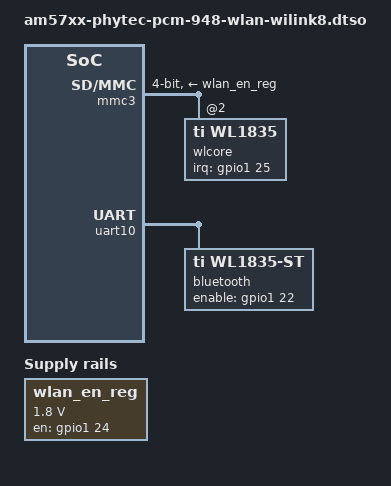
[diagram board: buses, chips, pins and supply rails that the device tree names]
// SPDX-License-Identifier: GPL-2.0
/*
 * Copyright (C) 2023 PHYTEC Messtechnik GmbH
 * Author: Primoz Fiser <primoz.fiser@norik.com>
 */

/dts-v1/;
/plugin/;

#include <dt-bindings/interrupt-controller/irq.h>
#include <dt-bindings/gpio/gpio.h>
#include <dt-bindings/pinctrl/dra.h>

&{/} {
	wlan_en_reg: regulator-wlan-en {
		compatible = "regulator-fixed";
		pinctrl-names = "default";
		pinctrl-0 = <&wlan_pins_default>;
		regulator-min-microvolt = <1800000>;
		regulator-max-microvolt = <1800000>;
		regulator-name = "WLAN_EN";
		gpio = <&gpio1 24 GPIO_ACTIVE_HIGH>;
		enable-active-high;
	};
};

&dra7_iodelay_core {
	mmc3_iodelay_conf: mmc3_iodelay_conf {
		pinctrl-pin-array = <
			0x678 A_DELAY_PS(406) G_DELAY_PS(0)	/* CFG_MMC3_CLK_IN */
			0x680 A_DELAY_PS(659) G_DELAY_PS(0)	/* CFG_MMC3_CLK_OUT */
			0x684 A_DELAY_PS(0) G_DELAY_PS(0)	/* CFG_MMC3_CMD_IN */
			0x688 A_DELAY_PS(0) G_DELAY_PS(0)	/* CFG_MMC3_CMD_OEN */
			0x68c A_DELAY_PS(0) G_DELAY_PS(0)	/* CFG_MMC3_CMD_OUT */
			0x690 A_DELAY_PS(130) G_DELAY_PS(0)	/* CFG_MMC3_DAT0_IN */
			0x694 A_DELAY_PS(0) G_DELAY_PS(0)	/* CFG_MMC3_DAT0_OEN */
			0x698 A_DELAY_PS(0) G_DELAY_PS(0)	/* CFG_MMC3_DAT0_OUT */
			0x69c A_DELAY_PS(169) G_DELAY_PS(0)	/* CFG_MMC3_DAT1_IN */
			0x6a0 A_DELAY_PS(0) G_DELAY_PS(0)	/* CFG_MMC3_DAT1_OEN */
			0x6a4 A_DELAY_PS(0) G_DELAY_PS(0)	/* CFG_MMC3_DAT1_OUT */
			0x6a8 A_DELAY_PS(0) G_DELAY_PS(0)	/* CFG_MMC3_DAT2_IN */
			0x6ac A_DELAY_PS(0) G_DELAY_PS(0)	/* CFG_MMC3_DAT2_OEN */
			0x6b0 A_DELAY_PS(0) G_DELAY_PS(0)	/* CFG_MMC3_DAT2_OUT */
			0x6b4 A_DELAY_PS(457) G_DELAY_PS(0)	/* CFG_MMC3_DAT3_IN */
			0x6b8 A_DELAY_PS(0) G_DELAY_PS(0)	/* CFG_MMC3_DAT3_OEN */
			0x6bc A_DELAY_PS(0) G_DELAY_PS(0)	/* CFG_MMC3_DAT3_OUT */
		>;
	};
};

&dra7_pmx_core {
	wlan_pins_default: wlan_pins_default {
		pinctrl-single,pins = <
			DRA7XX_CORE_IOPAD(0x379c, PIN_OUTPUT_PULLDOWN | MUX_MODE14)	/* (AB8) mmc3_dat6.gpio1_24 */
			DRA7XX_CORE_IOPAD(0x37a0, PIN_INPUT_PULLDOWN | MUX_MODE14)	/* (AB5) mmc3_dat7.gpio1_25 */
		>;
	};

	bt_pin_default: bt_pin_default {
		pinctrl-single,pins = <
			DRA7XX_CORE_IOPAD(0x3794, PIN_OUTPUT_PULLDOWN | MUX_MODE14)	/* (AC8) mmc3_dat4.gpio1_22 */
		>;
	};

	mmc3_pins_default: mmc3_pins_default {
		pinctrl-single,pins = <
			DRA7XX_CORE_IOPAD(0x377c, PIN_INPUT_PULLUP | MODE_SELECT | MUX_MODE0)	/* (AD4) mmc3_clk */
			DRA7XX_CORE_IOPAD(0x3780, PIN_INPUT_PULLUP | MODE_SELECT | MUX_MODE0)	/* (AC4) mmc3_cmd */
			DRA7XX_CORE_IOPAD(0x3784, PIN_INPUT_PULLUP | MODE_SELECT | MUX_MODE0)	/* (AC7) mmc3_dat0 */
			DRA7XX_CORE_IOPAD(0x3788, PIN_INPUT_PULLUP | MODE_SELECT | MUX_MODE0)	/* (AC6) mmc3_dat1 */
			DRA7XX_CORE_IOPAD(0x378c, PIN_INPUT_PULLUP | MODE_SELECT | MUX_MODE0)	/* (AC9) mmc3_dat2 */
			DRA7XX_CORE_IOPAD(0x3790, PIN_INPUT_PULLUP | MODE_SELECT | MUX_MODE0)	/* (AC3) mmc3_dat3 */
		>;
	};

	mmc3_pins_sleep: mmc3_pins_sleep {
		pinctrl-single,pins = <
			DRA7XX_CORE_IOPAD(0x377c, PIN_INPUT_PULLDOWN | MUX_MODE15)
			DRA7XX_CORE_IOPAD(0x3780, PIN_INPUT_PULLDOWN | MUX_MODE15)
			DRA7XX_CORE_IOPAD(0x3784, PIN_INPUT_PULLDOWN | MUX_MODE15)
			DRA7XX_CORE_IOPAD(0x3788, PIN_INPUT_PULLDOWN | MUX_MODE15)
			DRA7XX_CORE_IOPAD(0x378c, PIN_INPUT_PULLDOWN | MUX_MODE15)
			DRA7XX_CORE_IOPAD(0x3790, PIN_INPUT_PULLDOWN | MUX_MODE15)
		>;
	};

	uart10_pins_default: uart10_pins_default {
		pinctrl-single,pins = <
			DRA7XX_CORE_IOPAD(0x3570, PIN_INPUT_SLEW | MUX_MODE8)	/* (D1) vin2a_d2.uart10_rxd */
			DRA7XX_CORE_IOPAD(0x3574, PIN_INPUT_SLEW | MUX_MODE8)	/* (E2) vin2a_d3.uart10_txd */
			DRA7XX_CORE_IOPAD(0x3578, PIN_INPUT_SLEW | MUX_MODE8)	/* (D2) vin2a_d4.uart10_ctsn */
			DRA7XX_CORE_IOPAD(0x357c, PIN_INPUT_SLEW | MUX_MODE8)	/* (F4) vin2a_d5.uart10_rtsn */
		>;
	};
};

&mmc3 {
	status = "okay";
	pinctrl-names = "default", "sleep", "hs", "sdr12", "sdr25", "sdr50";
	pinctrl-0 = <&mmc3_pins_default &mmc3_iodelay_conf>;
	pinctrl-1 = <&mmc3_pins_sleep>;
	pinctrl-2 = <&mmc3_pins_default &mmc3_iodelay_conf>;
	pinctrl-3 = <&mmc3_pins_default &mmc3_iodelay_conf>;
	pinctrl-4 = <&mmc3_pins_default &mmc3_iodelay_conf>;
	pinctrl-5 = <&mmc3_pins_default &mmc3_iodelay_conf>;
	bus-width = <4>;
	vmmc-supply = <&wlan_en_reg>;
	ti,non-removable;
	cap-power-off-card;
	keep-power-in-suspend;

	#address-cells = <1>;
	#size-cells = <0>;

	wlcore: wlcore@2 {
		compatible = "ti,wl1835";
		reg = <2>;
		interrupt-parent = <&gpio1>;
		interrupts = <25 IRQ_TYPE_EDGE_RISING>;
	};
};

&uart10 {
	status = "okay";
	pinctrl-names = "default";
	pinctrl-0 = <&uart10_pins_default &bt_pin_default>;

	bluetooth {
		compatible = "ti,wl1835-st";
		enable-gpios = <&gpio1 22 GPIO_ACTIVE_HIGH>;
	};
};
